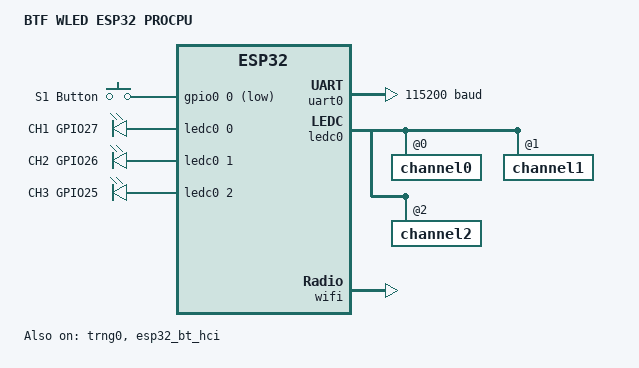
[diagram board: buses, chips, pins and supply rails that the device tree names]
/*
 * SPDX-License-Identifier: Apache-2.0
 *
 * BTF-Lighting "ESP32 WLED" controller: ESP32-WROOM-32E, 4MB flash, no
 * PSRAM. Three MOSFET-buffered PWM channels (CH1/CH2/CH3 on the silk =
 * GPIO27/26/25), one push button (S1, shared with the GPIO0 boot strap),
 * USB-UART on UART0. The digital-strip DAT line (GPIO16) and microphone
 * (GPIO36) are unused by this firmware.
 */
/dts-v1/;

#include <espressif/esp32/esp32_wroom_32ue_n4.dtsi>
#include "btf_wled_esp32-pinctrl.dtsi"
#include <zephyr/dt-bindings/input/input-event-codes.h>
#include <zephyr/dt-bindings/pwm/pwm.h>
#include <btf/partitions_btf_4M.dtsi>

/ {
	model = "BTF WLED ESP32 PROCPU";
	compatible = "espressif,esp32";

	aliases {
		uart-0 = &uart0;
		sw0 = &button0;
		watchdog0 = &wdt0;
		pwm-led0 = &pwm_led_ch1;
		pwm-led1 = &pwm_led_ch2;
		pwm-led2 = &pwm_led_ch3;
	};

	buttons {
		compatible = "gpio-keys";

		button0: button_0 {
			gpios = <&gpio0 0 (GPIO_PULL_UP | GPIO_ACTIVE_LOW)>;
			label = "S1 Button";
			zephyr,code = <INPUT_KEY_0>;
		};
	};

	pwm_leds {
		compatible = "pwm-leds";

		/* 51200ns = 19.531kHz = 80MHz APB / 2^12: inaudible, and the
		 * highest frequency that still yields 12-bit LEDC resolution.
		 */
		pwm_led_ch1: pwm_led_1 {
			pwms = <&ledc0 0 51200 PWM_POLARITY_NORMAL>;
			label = "CH1 GPIO27";
		};

		pwm_led_ch2: pwm_led_2 {
			pwms = <&ledc0 1 51200 PWM_POLARITY_NORMAL>;
			label = "CH2 GPIO26";
		};

		pwm_led_ch3: pwm_led_3 {
			pwms = <&ledc0 2 51200 PWM_POLARITY_NORMAL>;
			label = "CH3 GPIO25";
		};
	};

	chosen {
		zephyr,sram = &sram1;
		zephyr,console = &uart0;
		zephyr,shell-uart = &uart0;
		zephyr,flash = &flash0;
		zephyr,code-partition = &slot0_partition;
		zephyr,bt-hci = &esp32_bt_hci;
	};
};

&uart0 {
	status = "okay";
	current-speed = <115200>;
	pinctrl-0 = <&uart0_default>;
	pinctrl-names = "default";
};

&gpio0 {
	status = "okay";
};

&gpio1 {
	status = "okay";
};

&ledc0 {
	pinctrl-0 = <&ledc0_default>;
	pinctrl-names = "default";
	status = "okay";
	#address-cells = <1>;
	#size-cells = <0>;

	channel0@0 {
		reg = <0x0>;
		timer = <0>;
	};

	channel1@1 {
		reg = <0x1>;
		timer = <0>;
	};

	channel2@2 {
		reg = <0x2>;
		timer = <0>;
	};
};

&trng0 {
	status = "okay";
};

&esp32_bt_hci {
	status = "okay";
};

&wifi {
	status = "okay";
};
